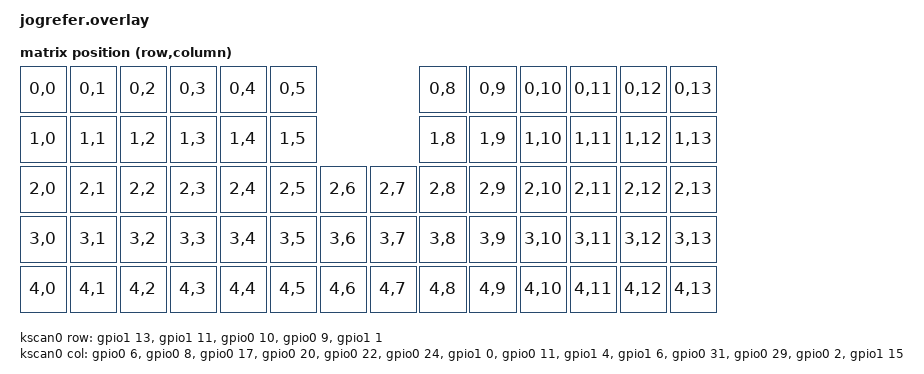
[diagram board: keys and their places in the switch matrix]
#include <dt-bindings/zmk/matrix_transform.h>

/ {
	chosen {
		zmk,kscan = &kscan0;
		zmk,matrix-transform = &default_transform;
	};

	default_transform: matrix_transform {
		compatible = "zmk,matrix-transform";
		rows = <5>;
		columns = <14>;
		map = <
			RC(0,0) RC(0,1) RC(0,2) RC(0,3) RC(0,4) RC(0,5)                 RC(0,8) RC(0,9) RC(0,10) RC(0,11) RC(0,12) RC(0,13)
			RC(1,0) RC(1,1) RC(1,2) RC(1,3) RC(1,4) RC(1,5)                 RC(1,8) RC(1,9) RC(1,10) RC(1,11) RC(1,12) RC(1,13)
			RC(2,0) RC(2,1) RC(2,2) RC(2,3) RC(2,4) RC(2,5) RC(2,6) RC(2,7) RC(2,8) RC(2,9) RC(2,10) RC(2,11) RC(2,12) RC(2,13)
			RC(3,0) RC(3,1) RC(3,2) RC(3,3) RC(3,4) RC(3,5) RC(3,6) RC(3,7) RC(3,8) RC(3,9) RC(3,10) RC(3,11) RC(3,12) RC(3,13)
			RC(4,0) RC(4,1) RC(4,2) RC(4,3) RC(4,4) RC(4,5) RC(4,6) RC(4,7) RC(4,8) RC(4,9) RC(4,10) RC(4,11) RC(4,12) RC(4,13)
		>;
	};

	kscan0: kscan0 {
		compatible = "zmk,kscan-gpio-matrix";
		diode-direction = "col2row";
		wakeup-source;
		debounce-press-ms = <20>;
		debounce-release-ms = <20>;
		debounce-scan-period-ms = <20>;
		poll-period-ms = <100>;

		row-gpios
			= <&gpio1 13 (GPIO_ACTIVE_HIGH | GPIO_PULL_DOWN)>	// f1													P1.13
			, <&gpio1 11 (GPIO_ACTIVE_HIGH | GPIO_PULL_DOWN)>	// f2													P1.11
			, <&gpio0 10 (GPIO_ACTIVE_HIGH | GPIO_PULL_DOWN)>	// f3													P0.10
			, <&gpio0 9 (GPIO_ACTIVE_HIGH | GPIO_PULL_DOWN)>	// f4													P0.09
			, <&gpio1 1 (GPIO_ACTIVE_HIGH | GPIO_PULL_DOWN)>	// f5													P1.01
			;

		col-gpios
			= <&gpio0 6 GPIO_ACTIVE_HIGH>								// c1-izq		╭───────────────────╮		P0.06
			, <&gpio0 8 GPIO_ACTIVE_HIGH>								// c2-izq		│  ×  1  2  3  4  5 │		P0.08
			, <&gpio0 17 GPIO_ACTIVE_HIGH>							// c3-izq		│  ⭾  F  M  N  G  X ╰─		P0.17
			, <&gpio0 20 GPIO_ACTIVE_HIGH>							// c4-izq		│  ⇪  D  T  R  S  L  Ç		P0.20
			, <&gpio0 22 GPIO_ACTIVE_HIGH>							// c5-izq		│  ´  Z  Q  H  C  K  [		P0.22
			, <&gpio0 24 GPIO_ACTIVE_HIGH>							// c6-izq		│  ⌗  ⌃  ⌥  ⌘  ␣  ←  ]		P0.24
			, <&gpio1 0 GPIO_ACTIVE_HIGH>								// c7-izq		╰──────────────────────		P1.00
			, <&gpio0 11 GPIO_ACTIVE_HIGH>							// c1-der		  ╭────────────────────╮	P0.11
			, <&gpio1 4 GPIO_ACTIVE_HIGH>								// c2-der		  │  6  7  8  9  0  \  │	P1.04
			, <&gpio1 6 GPIO_ACTIVE_HIGH>								// c3-der		──╯  W  V  B  P  Y  -  │	P1.06
			, <&gpio0 31 GPIO_ACTIVE_HIGH>							// c4-der		  ⏍  U  A  E  O  I  +  │	P0.31
			, <&gpio0 29 GPIO_ACTIVE_HIGH>							// c5-der		  <  Ñ  J  ,  .  /  ⇪  │	P0.29
			, <&gpio0 2 GPIO_ACTIVE_HIGH>								// c6-der		  ⌘  ↩︎  ␣  ←  ↑  ↓  →  │	P0.02
			, <&gpio1 15 GPIO_ACTIVE_HIGH>							// c7-der		───────────────────────╯	P1.15
			;
	};
};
